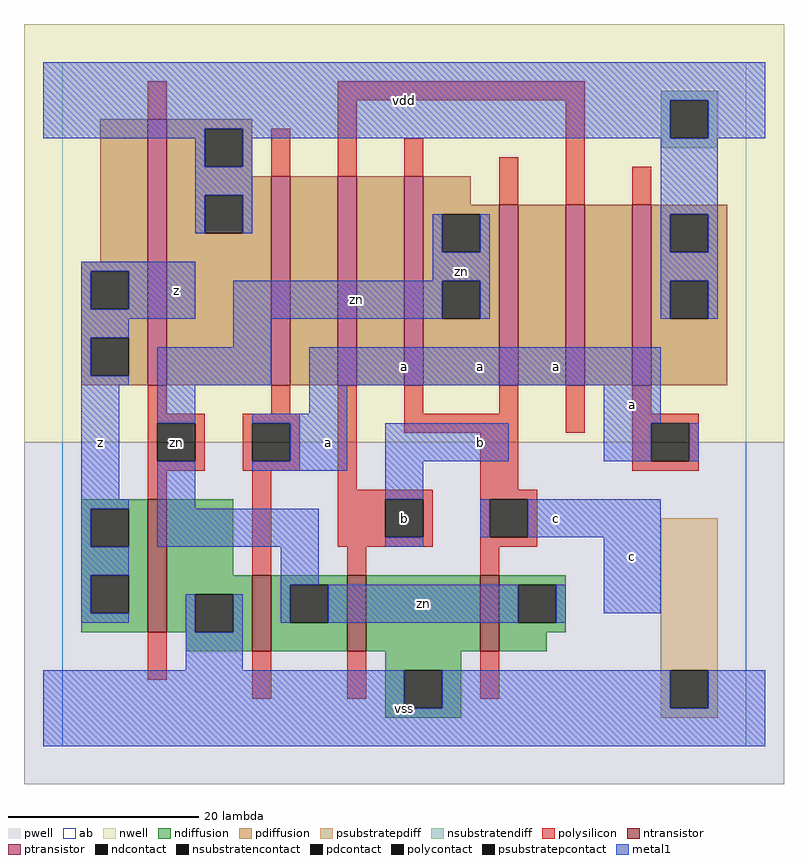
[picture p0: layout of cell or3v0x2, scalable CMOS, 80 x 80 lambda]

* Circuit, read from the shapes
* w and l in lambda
.subckt or3v0x2 a b c vdd vss z zn
M1 vss zn z vss nfet w=14 l=2
M2 zn a vss vss nfet w=8 l=2
M3 vss b zn vss nfet w=8 l=2
M4 zn c vss vss nfet w=8 l=2
M5 vdd zn z vdd pfet w=28 l=2
M6 n1 a vdd vdd pfet w=22 l=2
M7 n2 b n1 vdd pfet w=22 l=2
M8 zn c n2 vdd pfet w=22 l=2
M9 n3 c zn vdd pfet w=19 l=2
M10 n4 b n3 vdd pfet w=19 l=2
M11 vdd a n4 vdd pfet w=19 l=2
.ends

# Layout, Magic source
magic
tech scmos
<< ab >>
rect 0 0 72 72
<< pwell >>
rect -4 -4 76 32
<< nwell >>
rect -4 32 76 76
<< polysilicon >>
rect 9 66 11 70
rect 29 68 55 70
rect 22 60 24 65
rect 29 60 31 68
rect 36 60 38 64
rect 46 57 48 62
rect 53 57 55 68
rect 60 57 62 61
rect 9 35 11 38
rect 22 35 24 38
rect 9 34 15 35
rect 9 30 10 34
rect 14 30 15 34
rect 9 29 15 30
rect 19 34 25 35
rect 19 30 20 34
rect 24 30 25 34
rect 19 29 25 30
rect 9 26 11 29
rect 20 18 22 29
rect 29 27 31 38
rect 36 35 38 38
rect 46 35 48 38
rect 36 33 48 35
rect 53 33 55 38
rect 60 35 62 38
rect 60 34 67 35
rect 44 27 48 33
rect 60 30 62 34
rect 66 30 67 34
rect 60 29 67 30
rect 29 26 39 27
rect 29 22 34 26
rect 38 22 39 26
rect 29 21 39 22
rect 44 26 50 27
rect 44 22 45 26
rect 49 22 50 26
rect 44 21 50 22
rect 30 18 32 21
rect 44 18 46 21
rect 9 7 11 12
rect 20 5 22 10
rect 30 5 32 10
rect 44 5 46 10
<< ndiffusion >>
rect 2 25 9 26
rect 2 21 3 25
rect 7 21 9 25
rect 2 18 9 21
rect 2 14 3 18
rect 7 14 9 18
rect 2 12 9 14
rect 11 18 18 26
rect 11 16 20 18
rect 11 12 14 16
rect 18 12 20 16
rect 13 10 20 12
rect 22 17 30 18
rect 22 13 24 17
rect 28 13 30 17
rect 22 10 30 13
rect 32 10 44 18
rect 46 17 53 18
rect 46 13 48 17
rect 52 13 53 17
rect 46 12 53 13
rect 46 10 51 12
rect 34 8 42 10
rect 34 4 36 8
rect 40 4 42 8
rect 34 3 42 4
<< pdiffusion >>
rect 4 51 9 66
rect 2 50 9 51
rect 2 46 3 50
rect 7 46 9 50
rect 2 43 9 46
rect 2 39 3 43
rect 7 39 9 43
rect 2 38 9 39
rect 11 65 20 66
rect 11 61 15 65
rect 19 61 20 65
rect 11 60 20 61
rect 11 58 22 60
rect 11 54 15 58
rect 19 54 22 58
rect 11 38 22 54
rect 24 38 29 60
rect 31 38 36 60
rect 38 57 43 60
rect 38 56 46 57
rect 38 52 40 56
rect 44 52 46 56
rect 38 49 46 52
rect 38 45 40 49
rect 44 45 46 49
rect 38 38 46 45
rect 48 38 53 57
rect 55 38 60 57
rect 62 56 70 57
rect 62 52 64 56
rect 68 52 70 56
rect 62 49 70 52
rect 62 45 64 49
rect 68 45 70 49
rect 62 38 70 45
<< metal1 >>
rect -2 68 74 72
rect -2 65 64 68
rect -2 64 15 65
rect 14 61 15 64
rect 19 64 64 65
rect 68 64 74 68
rect 19 61 20 64
rect 14 58 20 61
rect 14 54 15 58
rect 19 54 20 58
rect 63 56 69 64
rect 39 52 40 56
rect 44 52 45 56
rect 2 50 14 51
rect 2 46 3 50
rect 7 46 14 50
rect 39 49 45 52
rect 2 45 14 46
rect 18 45 40 49
rect 44 45 45 49
rect 63 52 64 56
rect 68 52 69 56
rect 63 49 69 52
rect 63 45 64 49
rect 68 45 69 49
rect 2 43 7 45
rect 2 39 3 43
rect 18 42 22 45
rect 2 38 7 39
rect 10 38 22 42
rect 26 38 63 42
rect 2 26 6 38
rect 10 34 14 38
rect 26 35 30 38
rect 2 25 7 26
rect 2 21 3 25
rect 10 25 14 30
rect 20 34 30 35
rect 57 34 63 38
rect 24 30 30 34
rect 20 29 30 30
rect 34 30 47 34
rect 57 30 62 34
rect 66 30 67 34
rect 34 26 38 30
rect 10 21 27 25
rect 44 22 45 26
rect 49 22 63 26
rect 34 21 38 22
rect 2 18 7 21
rect 2 14 3 18
rect 23 17 27 21
rect 2 13 7 14
rect 13 12 14 16
rect 18 12 19 16
rect 23 13 24 17
rect 28 13 48 17
rect 52 13 53 17
rect 57 14 63 22
rect 13 8 19 12
rect -2 4 36 8
rect 40 4 64 8
rect 68 4 74 8
rect -2 0 74 4
<< ntransistor >>
rect 9 12 11 26
rect 20 10 22 18
rect 30 10 32 18
rect 44 10 46 18
<< ptransistor >>
rect 9 38 11 66
rect 22 38 24 60
rect 29 38 31 60
rect 36 38 38 60
rect 46 38 48 57
rect 53 38 55 57
rect 60 38 62 57
<< polycontact >>
rect 10 30 14 34
rect 20 30 24 34
rect 62 30 66 34
rect 34 22 38 26
rect 45 22 49 26
<< ndcontact >>
rect 3 21 7 25
rect 3 14 7 18
rect 14 12 18 16
rect 24 13 28 17
rect 48 13 52 17
rect 36 4 40 8
<< pdcontact >>
rect 3 46 7 50
rect 3 39 7 43
rect 15 61 19 65
rect 15 54 19 58
rect 40 52 44 56
rect 40 45 44 49
rect 64 52 68 56
rect 64 45 68 49
<< psubstratepcontact >>
rect 64 4 68 8
<< nsubstratencontact >>
rect 64 64 68 68
<< psubstratepdiff >>
rect 63 8 69 24
rect 63 4 64 8
rect 68 4 69 8
rect 63 3 69 4
<< nsubstratendiff >>
rect 63 68 69 69
rect 63 64 64 68
rect 68 64 69 68
rect 63 63 69 64
<< labels >>
rlabel polycontact 12 32 12 32 6 zn
rlabel metal1 4 32 4 32 6 z
rlabel polycontact 12 31 12 31 6 zn
rlabel metal1 12 48 12 48 6 z
rlabel metal1 28 32 28 32 6 a
rlabel metal1 36 4 36 4 6 vss
rlabel metal1 38 15 38 15 6 zn
rlabel polycontact 36 24 36 24 6 b
rlabel metal1 44 32 44 32 6 b
rlabel metal1 52 24 52 24 6 c
rlabel metal1 44 40 44 40 6 a
rlabel metal1 52 40 52 40 6 a
rlabel metal1 36 40 36 40 6 a
rlabel metal1 31 47 31 47 6 zn
rlabel metal1 42 50 42 50 6 zn
rlabel metal1 36 68 36 68 6 vdd
rlabel metal1 60 20 60 20 6 c
rlabel metal1 60 36 60 36 6 a
<< end >>
